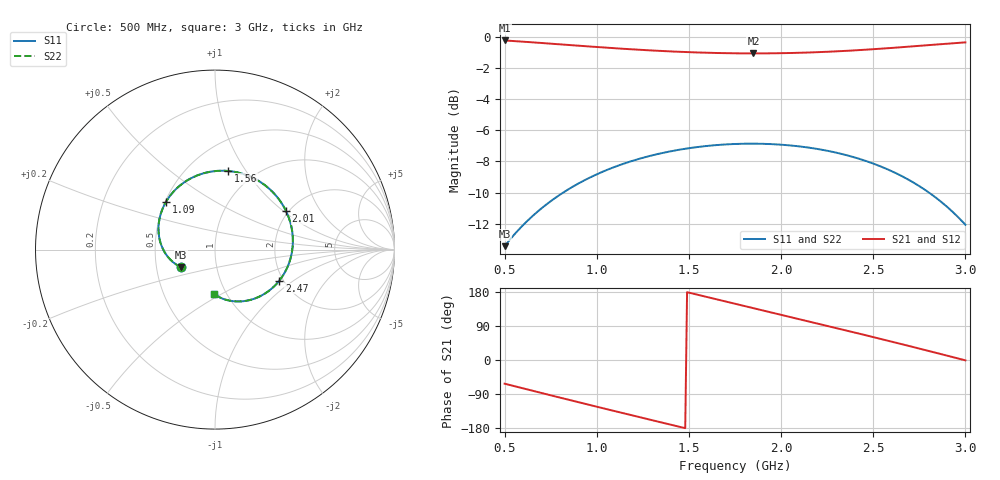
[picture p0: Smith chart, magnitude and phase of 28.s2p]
!freq-unit  param-type  data-format  keyword  impedance-ohms
# GHZ  S  RI  R  50
!Freq  ReS11  ImS11  ReS21  ImS21  ReS12  ImS12  ReS22  ImS22
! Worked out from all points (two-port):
!   251 points, 500 MHz to 3 GHz, reference 50 ohm
!   highest |S21| = -0.22 dB at 500 MHz (marker M1); lowest = -1.1 dB at 1.85 GHz (marker M2)
!   |S21| within 3 dB of the highest: start of sweep to end of sweep
!   lowest |S11| = -13.4 dB at 500 MHz (marker M3), VSWR 1.54, Z = 33.6 - j6.88 ohm
!   |S11| at or under -10 dB: start of sweep to 818 MHz; 2.802 GHz to end of sweep
!   |S22| runs from -13.4 to -6.9 dB; largest |S21 - S12| = 0
!   S11 on the Smith chart (normalised r, x): 500 MHz: 0.67, -0.14; 1.09 GHz: 0.51, +0.31; 1.56 GHz: 0.76, +0.83; 2.01 GHz: 1.94, +1.04; 2.47 GHz: 1.90, -0.78; 3 GHz: 0.88, -0.47
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0.5  -0.1888 -0.0978  0.4501 -0.8648  0.4501 -0.8648  -0.1888 -0.0978
0.6  -0.2399 -0.0646  0.2529 -0.9325  0.2529 -0.9325  -0.2399 -0.0646
0.71  -0.2843 -0.00812  0.0287 -0.9556  0.0287 -0.9556  -0.2843 -0.00812
0.81  -0.3087 0.0572  -0.1713 -0.9308  -0.1713 -0.9308  -0.3087 0.0572
0.92  -0.314 0.1382  -0.3761 -0.8572  -0.3761 -0.8572  -0.314 0.1382
1.09  -0.2738 0.2649  -0.6398 -0.6625  -0.6398 -0.6625  -0.2738 0.2649
1.22  -0.2056 0.3482  -0.7839 -0.4637  -0.7839 -0.4637  -0.2056 0.3482
1.34  -0.1194 0.4045  -0.8655 -0.256  -0.8655 -0.256  -0.1194 0.4045
1.45  -0.0269 0.4336  -0.8946 -0.0561  -0.8946 -0.0561  -0.0269 0.4336
1.56  0.0716 0.4381  -0.8798 0.1434  -0.8798 0.1434  0.0716 0.4381
1.65  0.152 0.4229  -0.8363 0.3002  -0.8363 0.3002  0.152 0.4229
1.75  0.236 0.3867  -0.7568 0.4617  -0.7568 0.4617  0.236 0.3867
1.85  0.3098 0.332  -0.6476 0.6044  -0.6476 0.6044  0.3098 0.332
2.01  0.3962 0.2138  -0.4212 0.7811  -0.4212 0.7811  0.3962 0.2138
2.17  0.4331 0.0736  -0.149 0.8801  -0.149 0.8801  0.4331 0.0736
2.32  0.418 -0.0588  0.1264 0.8917  0.1264 0.8917  0.418 -0.0588
2.47  0.358 -0.1732  0.3982 0.8196  0.3982 0.8196  0.358 -0.1732
2.59  0.2846 -0.2407  0.5966 0.7023  0.5966 0.7023  0.2846 -0.2407
2.7  0.2051 -0.2779  0.7511 0.5515  0.7511 0.5515  0.2051 -0.2779
2.81  0.1224 -0.289  0.8692 0.3649  0.8692 0.3649  0.1224 -0.289
2.91  0.0517 -0.2766  0.9372 0.1712  0.9372 0.1712  0.0517 -0.2766
3  -0.00285 -0.2492  0.9612 -0.0157  0.9612 -0.0157  -0.00285 -0.2492
